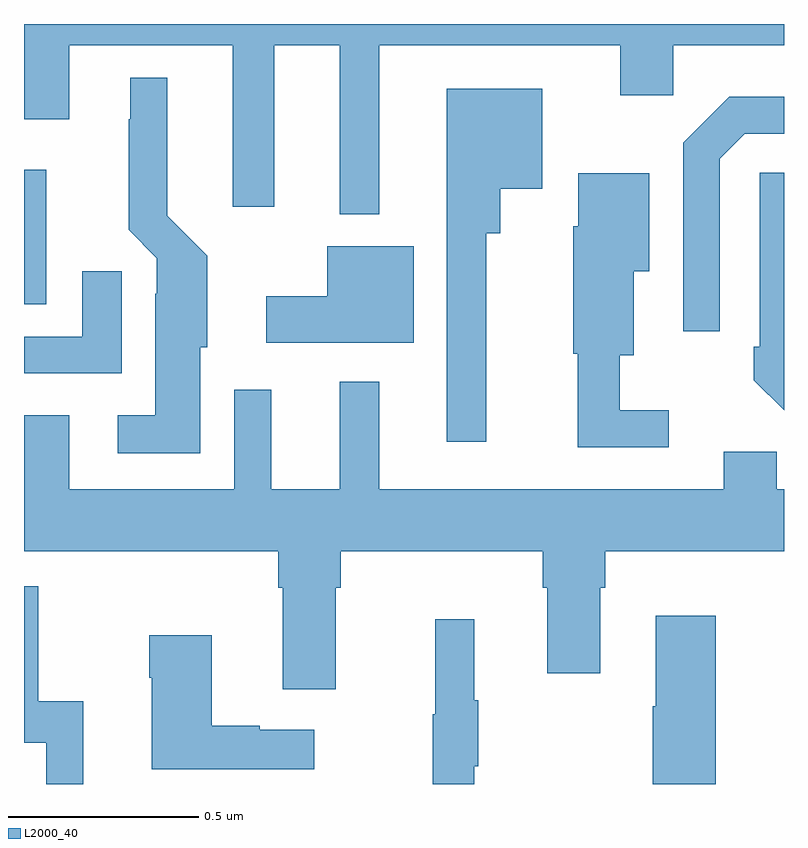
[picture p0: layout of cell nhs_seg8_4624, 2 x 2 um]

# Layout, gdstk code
import gdstk
lib = gdstk.Library(unit=1e-6, precision=1e-09)
def R(c, l, rs):  # rectangles x0, y0, x1, y1
    for r in rs: c.add(gdstk.rectangle(r[:2], r[2:], *l))
def P(c, l, *ps):  # polygons
    for p in ps: c.add(gdstk.Polygon(p, *l))
L2000_40 = (2000, 40)

nhs_seg8_4624 = lib.new_cell('nhs_seg8_4624')
R(nhs_seg8_4624, L2000_40, [(173,1105.162,173.059,1105.516)])
P(nhs_seg8_4624, L2000_40, [(173.935,1105.844),(174.569,1105.844),(174.569,1105.713),(174.708,1105.713),(174.708,1105.844),(175,1105.844),(175,1105.9),(173,1105.9),(173,1105.65),(173.119,1105.65),(173.119,1105.844),(173.549,1105.844),(173.549,1105.419),(173.659,1105.419),(173.659,1105.844),(173.831,1105.844),(173.831,1105.4),(173.935,1105.4)],
  [(173.464,1105.05),(173.482,1105.05),(173.482,1105.29),(173.377,1105.396),(173.377,1105.759),(173.279,1105.759),(173.279,1105.649),(173.275,1105.649),(173.275,1105.358),(173.349,1105.284),(173.349,1105.19),(173.345,1105.19),(173.345,1104.871),(173.247,1104.871),(173.247,1104.77),(173.464,1104.77)],
  [(174.217,1105.349),(174.253,1105.349),(174.253,1105.466),(174.364,1105.466),(174.364,1105.729),(174.113,1105.729),(174.113,1104.801),(174.217,1104.801)],
  [(174.831,1105.545),(174.897,1105.611),(175,1105.611),(175,1105.708),(174.856,1105.708),(174.735,1105.587),(174.735,1105.092),(174.831,1105.092)],
  [(175,1105.509),(174.936,1105.509),(174.936,1105.051),(174.921,1105.051),(174.921,1104.963),(175,1104.884)],
  [(174.697,1104.883),(174.568,1104.883),(174.568,1105.028),(174.604,1105.028),(174.604,1105.25),(174.646,1105.25),(174.646,1105.507),(174.458,1105.507),(174.458,1105.368),(174.446,1105.368),(174.446,1105.032),(174.457,1105.032),(174.457,1104.786),(174.697,1104.786)],
  [(174.025,1105.315),(173.798,1105.315),(173.798,1105.183),(173.637,1105.183),(173.637,1105.061),(174.025,1105.061)],
  [(173.257,1105.249),(173.153,1105.249),(173.153,1105.077),(173,1105.077),(173,1104.981),(173.257,1104.981)],
  [(173.821,1104.416),(173.834,1104.416),(173.834,1104.512),(174.365,1104.512),(174.365,1104.416),(174.377,1104.416),(174.377,1104.192),(174.517,1104.192),(174.517,1104.416),(174.53,1104.416),(174.53,1104.512),(175,1104.512),(175,1104.676),(174.981,1104.676),(174.981,1104.774),(174.842,1104.774),(174.842,1104.676),(173.935,1104.676),(173.935,1104.958),(173.831,1104.958),(173.831,1104.676),(173.651,1104.676),(173.651,1104.937),(173.553,1104.937),(173.553,1104.676),(173.119,1104.676),(173.119,1104.871),(173,1104.871),(173,1104.512),(173.669,1104.512),(173.669,1104.416),(173.681,1104.416),(173.681,1104.15),(173.821,1104.15)],
  [(173.156,1104.118),(173.038,1104.118),(173.038,1104.42),(173,1104.42),(173,1104.009),(173.058,1104.009),(173.058,1103.9),(173.156,1103.9)],
  [(174.821,1104.343),(174.662,1104.343),(174.662,1104.104),(174.655,1104.104),(174.655,1103.9),(174.821,1103.9)],
  [(174.185,1103.947),(174.196,1103.947),(174.196,1104.121),(174.185,1104.121),(174.185,1104.334),(174.082,1104.334),(174.082,1104.084),(174.075,1104.084),(174.075,1103.9),(174.185,1103.9)],
  [(173.764,1104.043),(173.621,1104.043),(173.621,1104.053),(173.494,1104.053),(173.494,1104.292),(173.329,1104.292),(173.329,1104.179),(173.336,1104.179),(173.336,1103.939),(173.764,1103.939)])

lib.write_gds('nhs_seg8_4624.gds')
